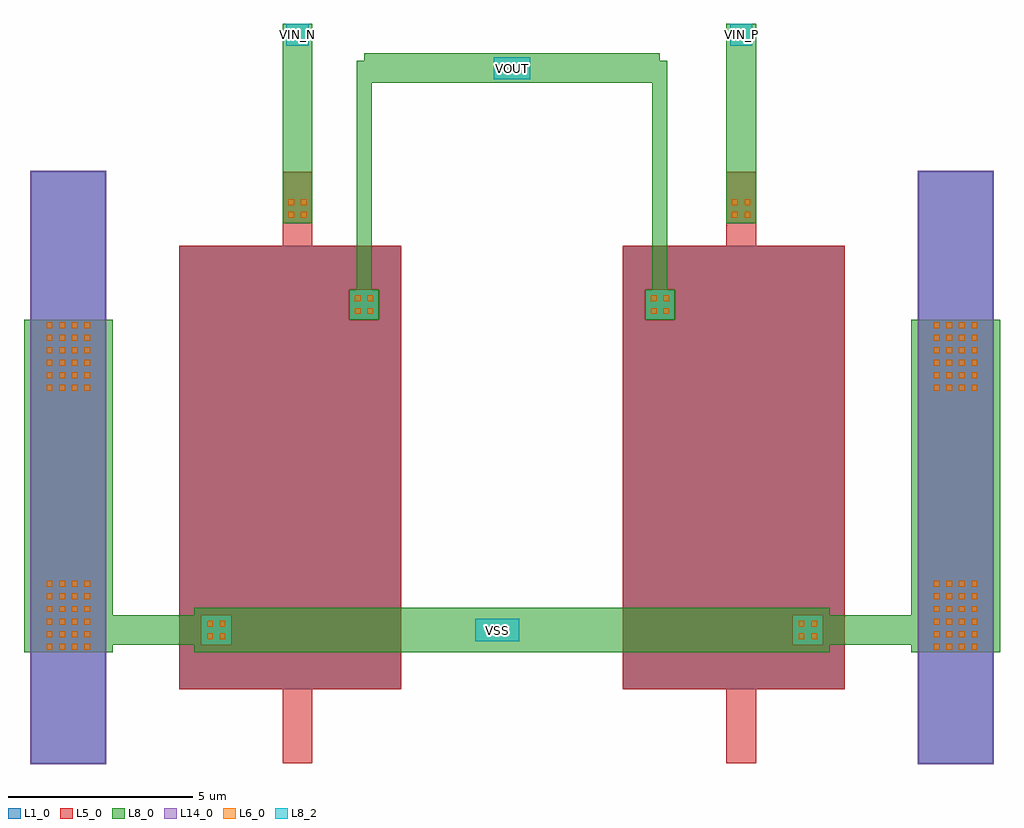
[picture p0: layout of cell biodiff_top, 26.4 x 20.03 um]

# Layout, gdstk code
import gdstk
lib = gdstk.Library(unit=1e-6, precision=1e-09)
def R(c, l, rs):  # rectangles x0, y0, x1, y1
    for r in rs: c.add(gdstk.rectangle(r[:2], r[2:], *l))
def A(c, l, x, y, w, h, nx, ny, dx, dy):  # array of equal rectangles
    R(c, l, [(x+i*dx, y+j*dy, x+i*dx+w, y+j*dy+h) for i in range(nx) for j in range(ny)])
L1_0 = (1, 0)
L5_0 = (5, 0)
L6_0 = (6, 0)
L8_0 = (8, 0)
L8_2 = (8, 2)
L14_0 = (14, 0)

biodiff_top = lib.new_cell('biodiff_top')
R(biodiff_top, L1_0, [(2,8,4,24), (26,8,28,24), (6,10,12,22), (18,10,24,22)])
R(biodiff_top, L5_0, [(8.8,8,9.6,10), (20.8,8,21.6,10), (6,10,12,11.2), (18,10,24,11.2), (6,11.2,6.6,12), (7.4,11.2,12,12), (18,11.2,22.6,12), (23.4,11.2,24,12), (6,12,12,20), (18,12,24,20), (6,20,10.6,20.8), (11.4,20,12,20.8), (18,20,18.6,20.8), (19.4,20,24,20.8), (6,20.8,12,22), (18,20.8,24,22), (8.8,22,9.6,24), (20.8,22,21.6,24)])
A(biodiff_top, L6_0, 2.41, 11.07, 0.16, 0.16, 4, 6, 0.34, 0.34)
A(biodiff_top, L6_0, 26.41, 11.07, 0.16, 0.16, 4, 6, 0.34, 0.34)
A(biodiff_top, L6_0, 2.41, 18.07, 0.16, 0.16, 4, 6, 0.34, 0.34)
A(biodiff_top, L6_0, 26.41, 18.07, 0.16, 0.16, 4, 6, 0.34, 0.34)
R(biodiff_top, L6_0, [(6.75,11.35,6.91,11.51), (7.09,11.35,7.25,11.51), (22.75,11.35,22.91,11.51), (23.09,11.35,23.25,11.51), (6.75,11.69,6.91,11.85), (7.09,11.69,7.25,11.85), (22.75,11.69,22.91,11.85), (23.09,11.69,23.25,11.85), (10.75,20.15,10.91,20.31), (11.09,20.15,11.25,20.31), (18.75,20.15,18.91,20.31), (19.09,20.15,19.25,20.31), (10.75,20.49,10.91,20.65), (11.09,20.49,11.25,20.65), (18.75,20.49,18.91,20.65), (19.09,20.49,19.25,20.65), (8.95,22.75,9.11,22.91), (9.29,22.75,9.45,22.91), (20.95,22.75,21.11,22.91), (21.29,22.75,21.45,22.91), (8.95,23.09,9.11,23.25), (9.29,23.09,9.45,23.25), (20.95,23.09,21.11,23.25), (21.29,23.09,21.45,23.25)])
R(biodiff_top, L8_0, [(1.8,11,4.2,11.2), (6.4,11,23.6,11.2), (25.8,11,28.2,11.2), (1.8,11.2,28.2,12), (1.8,12,4.2,20), (6.4,12,23.6,12.2), (25.8,12,28.2,20), (10.6,20,11.4,20.8), (18.6,20,19.4,20.8), (10.8,20.8,11.2,26.4), (18.8,20.8,19.2,26.4), (8.8,22.6,9.6,28), (20.8,22.6,21.6,28), (10.8,26.4,19.2,27), (11,27,19,27.2)])
R(biodiff_top, L8_2, [(14,11.3,15.2,11.9), (14.5,26.5,15.5,27.1), (8.9,27.4,9.5,28), (20.9,27.4,21.5,28)])
R(biodiff_top, L14_0, [(1.97,7.97,4.03,24.03), (25.97,7.97,28.03,24.03)])
biodiff_top.add(gdstk.Label('VIN_N', (9.2,27.7), layer=8, texttype=25))
biodiff_top.add(gdstk.Label('VIN_P', (21.2,27.7), layer=8, texttype=25))
biodiff_top.add(gdstk.Label('VOUT', (15,26.8), layer=8, texttype=25))
biodiff_top.add(gdstk.Label('VSS', (14.6,11.6), layer=8, texttype=25))

lib.write_gds('biodiff_top.gds')
